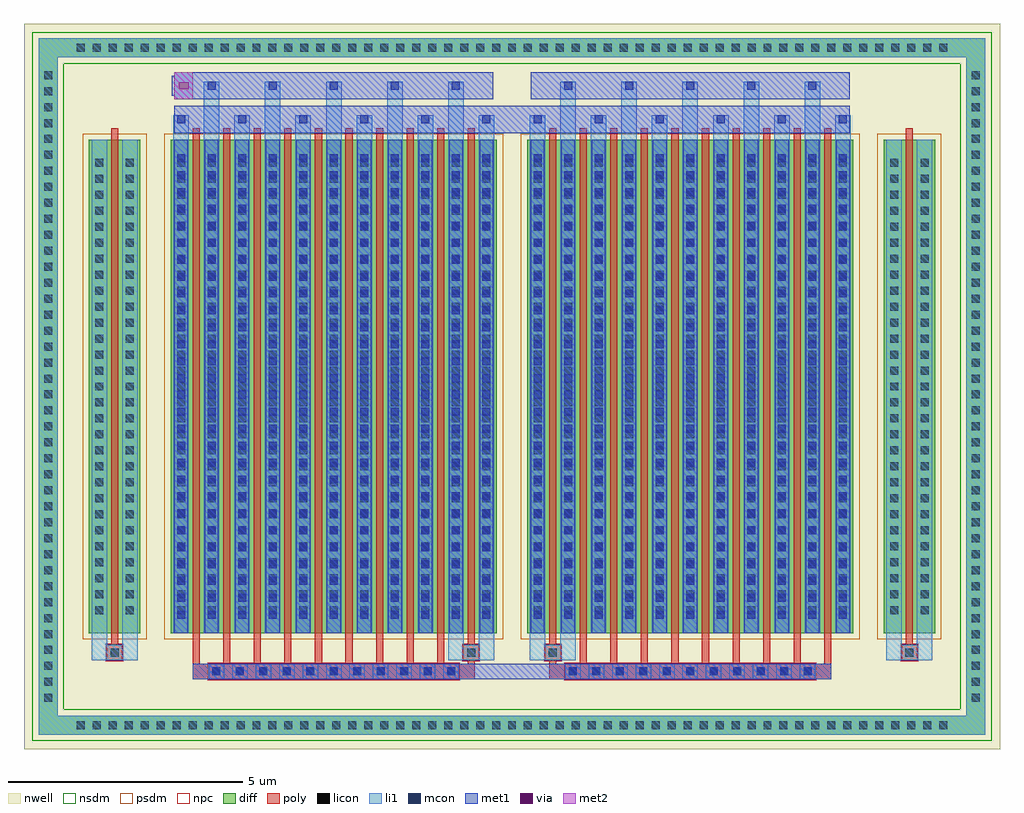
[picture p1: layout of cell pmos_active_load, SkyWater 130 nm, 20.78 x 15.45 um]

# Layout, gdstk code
import gdstk
lib = gdstk.Library(unit=1e-6, precision=5e-09)
def R(c, l, rs):  # rectangles x0, y0, x1, y1
    for r in rs: c.add(gdstk.rectangle(r[:2], r[2:], *l))
def A(c, l, x, y, w, h, nx, ny, dx, dy):  # array of equal rectangles
    R(c, l, [(x+i*dx, y+j*dy, x+i*dx+w, y+j*dy+h) for i in range(nx) for j in range(ny)])
def P(c, l, *ps):  # polygons
    for p in ps: c.add(gdstk.Polygon(p, *l))
nwell = (64, 20)
diff = (65, 20)
poly = (66, 20)
licon = (66, 44)
li1 = (67, 20)
mcon = (67, 44)
met1 = (68, 20)
via = (68, 44)
met2 = (69, 20)
nsdm = (93, 44)
psdm = (94, 20)
npc = (95, 20)

multiplier_59c90b67 = lib.new_cell('multiplier_59c90b67')
R(multiplier_59c90b67, diff, [(-5.215,-5.25,-4.115,5.25), (-3.475,-5.25,3.475,5.25), (4.115,-5.25,5.215,5.25)])
A(multiplier_59c90b67, poly, -2.665, -6.23, 0.33, 0.33, 11, 1, 0.5, 0)
A(multiplier_59c90b67, poly, -3, -5.9, 0.15, 0.4, 10, 1, 0.65, 0)
A(multiplier_59c90b67, poly, -3, -5.5, 0.15, 11, 10, 1, 0.65, 0)
R(multiplier_59c90b67, poly, [(-3,-6.23,3,-5.9), (-4.83,-5.83,-4.5,-5.5), (-4.83,-5.83,-4.5,-5.5), (4.5,-5.83,4.83,-5.5), (4.5,-5.83,4.83,-5.5), (-4.74,-5.5,-4.59,5.5), (4.59,-5.5,4.74,5.5)])
A(multiplier_59c90b67, licon, -2.585, -6.15, 0.17, 0.17, 11, 1, 0.5, 0)
A(multiplier_59c90b67, licon, -5.075, -4.845, 0.17, 0.17, 1, 29, 0, 0.34)
A(multiplier_59c90b67, licon, -4.425, -4.845, 0.17, 0.17, 1, 29, 0, 0.34)
A(multiplier_59c90b67, licon, -3.335, -4.845, 0.17, 0.17, 11, 29, 0.65, 0.34)
A(multiplier_59c90b67, licon, 4.255, -4.845, 0.17, 0.17, 1, 29, 0, 0.34)
A(multiplier_59c90b67, licon, 4.905, -4.845, 0.17, 0.17, 1, 29, 0, 0.34)
R(multiplier_59c90b67, licon, [(-4.75,-5.75,-4.58,-5.58), (4.58,-5.75,4.75,-5.58)])
A(multiplier_59c90b67, li1, -2.665, -6.23, 0.33, 0.33, 11, 1, 0.5, 0)
A(multiplier_59c90b67, li1, -3.415, -5.25, 0.33, 10.5, 11, 1, 0.65, 0)
A(multiplier_59c90b67, li1, -3.335, -4.945, 0.17, 0.17, 11, 28, 0.65, 0.36)
A(multiplier_59c90b67, li1, -3.335, -4.945, 0.17, 9.89, 11, 1, 0.65, 0)
A(multiplier_59c90b67, li1, -5.155, -4.925, 0.33, 0.33, 1, 29, 0, 0.34)
A(multiplier_59c90b67, li1, -4.505, -4.925, 0.33, 0.33, 1, 29, 0, 0.34)
A(multiplier_59c90b67, li1, -3.415, -4.925, 0.33, 0.33, 11, 29, 0.65, 0.34)
A(multiplier_59c90b67, li1, 4.175, -4.925, 0.33, 0.33, 1, 29, 0, 0.34)
A(multiplier_59c90b67, li1, 4.825, -4.925, 0.33, 0.33, 1, 29, 0, 0.34)
A(multiplier_59c90b67, li1, -3.415, 5.25, 0.33, 0.52, 6, 1, 1.3, 0)
A(multiplier_59c90b67, li1, -2.765, 5.25, 0.33, 1.24, 5, 1, 1.3, 0)
A(multiplier_59c90b67, li1, -3.335, 5.6, 0.17, 0.17, 6, 1, 1.3, 0)
A(multiplier_59c90b67, li1, -2.685, 6.32, 0.17, 0.17, 5, 1, 1.3, 0)
R(multiplier_59c90b67, li1, [(-5.155,-5.83,-4.83,-5.5), (-5.155,-5.83,-4.825,-5.25), (-4.83,-5.83,-4.5,-5.5), (-4.505,-5.83,-4.175,-5.25), (-4.5,-5.83,-4.175,-5.5), (4.175,-5.83,4.5,-5.5), (4.175,-5.83,4.505,-5.25), (4.5,-5.83,4.83,-5.5), (4.825,-5.83,5.155,-5.25), (4.83,-5.83,5.155,-5.5), (-5.155,-5.25,-4.825,5.25), (-4.505,-5.25,-4.175,5.25), (4.175,-5.25,4.505,5.25), (4.825,-5.25,5.155,5.25)])
A(multiplier_59c90b67, mcon, -2.585, -6.15, 0.17, 0.17, 11, 1, 0.5, 0)
A(multiplier_59c90b67, mcon, -3.335, -4.945, 0.17, 0.17, 11, 28, 0.65, 0.36)
A(multiplier_59c90b67, mcon, -3.335, 5.6, 0.17, 0.17, 6, 1, 1.3, 0)
A(multiplier_59c90b67, mcon, -2.685, 6.32, 0.17, 0.17, 5, 1, 1.3, 0)
A(multiplier_59c90b67, met1, -2.645, -6.21, 0.29, 0.29, 11, 1, 0.5, 0)
A(multiplier_59c90b67, met1, -3.395, -5.25, 0.29, 10.5, 11, 1, 0.65, 0)
A(multiplier_59c90b67, met1, -3.395, -5.005, 0.29, 0.29, 11, 28, 0.65, 0.36)
A(multiplier_59c90b67, met1, -3.395, 5.54, 0.29, 0.29, 6, 1, 1.3, 0)
A(multiplier_59c90b67, met1, -2.745, 6.26, 0.29, 0.29, 5, 1, 1.3, 0)
R(multiplier_59c90b67, met1, [(-3,-6.23,3,-5.9), (-3.395,5.395,3.395,5.975), (-3.395,6.115,3.395,6.695)])
R(multiplier_59c90b67, psdm, [(-5.345,-5.38,-3.985,5.38), (-3.605,-5.38,3.605,5.38), (3.985,-5.38,5.345,5.38)])
A(multiplier_59c90b67, npc, -2.685, -6.25, 0.37, 0.37, 11, 1, 0.5, 0)
R(multiplier_59c90b67, npc, [(-2.685,-6.25,-1.815,-5.88), (-2.685,-6.25,-1.815,-5.88), (-2.185,-6.25,-1.315,-5.88), (-2.185,-6.25,-1.315,-5.88), (-1.685,-6.25,-0.815,-5.88), (-1.685,-6.25,-0.815,-5.88), (-1.185,-6.25,-0.315,-5.88), (-1.185,-6.25,-0.315,-5.88), (-0.685,-6.25,0.185,-5.88), (-0.685,-6.25,0.185,-5.88), (-0.185,-6.25,0.685,-5.88), (-0.185,-6.25,0.685,-5.88), (0.315,-6.25,1.185,-5.88), (0.315,-6.25,1.185,-5.88), (0.815,-6.25,1.685,-5.88), (0.815,-6.25,1.685,-5.88), (1.315,-6.25,2.185,-5.88), (1.315,-6.25,2.185,-5.88), (1.815,-6.25,2.685,-5.88), (1.815,-6.25,2.685,-5.88), (-4.85,-5.85,-4.48,-5.48), (4.48,-5.85,4.85,-5.48)])

multiplier_59c90b67_1 = lib.new_cell('multiplier_59c90b67$1')
R(multiplier_59c90b67_1, diff, [(-5.215,-5.25,-4.115,5.25), (-3.475,-5.25,3.475,5.25), (4.115,-5.25,5.215,5.25)])
A(multiplier_59c90b67_1, poly, -2.665, -6.23, 0.33, 0.33, 11, 1, 0.5, 0)
A(multiplier_59c90b67_1, poly, -3, -5.9, 0.15, 0.4, 10, 1, 0.65, 0)
A(multiplier_59c90b67_1, poly, -3, -5.5, 0.15, 11, 10, 1, 0.65, 0)
R(multiplier_59c90b67_1, poly, [(-3,-6.23,3,-5.9), (-4.83,-5.83,-4.5,-5.5), (-4.83,-5.83,-4.5,-5.5), (4.5,-5.83,4.83,-5.5), (4.5,-5.83,4.83,-5.5), (-4.74,-5.5,-4.59,5.5), (4.59,-5.5,4.74,5.5)])
A(multiplier_59c90b67_1, licon, -2.585, -6.15, 0.17, 0.17, 11, 1, 0.5, 0)
A(multiplier_59c90b67_1, licon, -5.075, -4.845, 0.17, 0.17, 1, 29, 0, 0.34)
A(multiplier_59c90b67_1, licon, -4.425, -4.845, 0.17, 0.17, 1, 29, 0, 0.34)
A(multiplier_59c90b67_1, licon, -3.335, -4.845, 0.17, 0.17, 11, 29, 0.65, 0.34)
A(multiplier_59c90b67_1, licon, 4.255, -4.845, 0.17, 0.17, 1, 29, 0, 0.34)
A(multiplier_59c90b67_1, licon, 4.905, -4.845, 0.17, 0.17, 1, 29, 0, 0.34)
R(multiplier_59c90b67_1, licon, [(-4.75,-5.75,-4.58,-5.58), (4.58,-5.75,4.75,-5.58)])
A(multiplier_59c90b67_1, li1, -2.665, -6.23, 0.33, 0.33, 11, 1, 0.5, 0)
A(multiplier_59c90b67_1, li1, -3.415, -5.25, 0.33, 10.5, 11, 1, 0.65, 0)
A(multiplier_59c90b67_1, li1, -3.335, -4.945, 0.17, 0.17, 11, 28, 0.65, 0.36)
A(multiplier_59c90b67_1, li1, -3.335, -4.945, 0.17, 9.89, 11, 1, 0.65, 0)
A(multiplier_59c90b67_1, li1, -5.155, -4.925, 0.33, 0.33, 1, 29, 0, 0.34)
A(multiplier_59c90b67_1, li1, -4.505, -4.925, 0.33, 0.33, 1, 29, 0, 0.34)
A(multiplier_59c90b67_1, li1, -3.415, -4.925, 0.33, 0.33, 11, 29, 0.65, 0.34)
A(multiplier_59c90b67_1, li1, 4.175, -4.925, 0.33, 0.33, 1, 29, 0, 0.34)
A(multiplier_59c90b67_1, li1, 4.825, -4.925, 0.33, 0.33, 1, 29, 0, 0.34)
A(multiplier_59c90b67_1, li1, -3.415, 5.25, 0.33, 0.52, 6, 1, 1.3, 0)
A(multiplier_59c90b67_1, li1, -2.765, 5.25, 0.33, 1.24, 5, 1, 1.3, 0)
A(multiplier_59c90b67_1, li1, -3.335, 5.6, 0.17, 0.17, 6, 1, 1.3, 0)
A(multiplier_59c90b67_1, li1, -2.685, 6.32, 0.17, 0.17, 5, 1, 1.3, 0)
R(multiplier_59c90b67_1, li1, [(-5.155,-5.83,-4.83,-5.5), (-5.155,-5.83,-4.825,-5.25), (-4.83,-5.83,-4.5,-5.5), (-4.505,-5.83,-4.175,-5.25), (-4.5,-5.83,-4.175,-5.5), (4.175,-5.83,4.5,-5.5), (4.175,-5.83,4.505,-5.25), (4.5,-5.83,4.83,-5.5), (4.825,-5.83,5.155,-5.25), (4.83,-5.83,5.155,-5.5), (-5.155,-5.25,-4.825,5.25), (-4.505,-5.25,-4.175,5.25), (4.175,-5.25,4.505,5.25), (4.825,-5.25,5.155,5.25)])
A(multiplier_59c90b67_1, mcon, -2.585, -6.15, 0.17, 0.17, 11, 1, 0.5, 0)
A(multiplier_59c90b67_1, mcon, -3.335, -4.945, 0.17, 0.17, 11, 28, 0.65, 0.36)
A(multiplier_59c90b67_1, mcon, -3.335, 5.6, 0.17, 0.17, 6, 1, 1.3, 0)
A(multiplier_59c90b67_1, mcon, -2.685, 6.32, 0.17, 0.17, 5, 1, 1.3, 0)
A(multiplier_59c90b67_1, met1, -2.645, -6.21, 0.29, 0.29, 11, 1, 0.5, 0)
A(multiplier_59c90b67_1, met1, -3.395, -5.25, 0.29, 10.5, 11, 1, 0.65, 0)
A(multiplier_59c90b67_1, met1, -3.395, -5.005, 0.29, 0.29, 11, 28, 0.65, 0.36)
A(multiplier_59c90b67_1, met1, -3.395, 5.54, 0.29, 0.29, 6, 1, 1.3, 0)
A(multiplier_59c90b67_1, met1, -2.745, 6.26, 0.29, 0.29, 5, 1, 1.3, 0)
R(multiplier_59c90b67_1, met1, [(-3,-6.23,3,-5.9), (-3.395,5.395,3.395,5.975), (-3.395,6.115,3.395,6.695)])
R(multiplier_59c90b67_1, psdm, [(-5.345,-5.38,-3.985,5.38), (-3.605,-5.38,3.605,5.38), (3.985,-5.38,5.345,5.38)])
A(multiplier_59c90b67_1, npc, -2.685, -6.25, 0.37, 0.37, 11, 1, 0.5, 0)
R(multiplier_59c90b67_1, npc, [(-2.685,-6.25,-1.815,-5.88), (-2.685,-6.25,-1.815,-5.88), (-2.185,-6.25,-1.315,-5.88), (-2.185,-6.25,-1.315,-5.88), (-1.685,-6.25,-0.815,-5.88), (-1.685,-6.25,-0.815,-5.88), (-1.185,-6.25,-0.315,-5.88), (-1.185,-6.25,-0.315,-5.88), (-0.685,-6.25,0.185,-5.88), (-0.685,-6.25,0.185,-5.88), (-0.185,-6.25,0.685,-5.88), (-0.185,-6.25,0.685,-5.88), (0.315,-6.25,1.185,-5.88), (0.315,-6.25,1.185,-5.88), (0.815,-6.25,1.685,-5.88), (0.815,-6.25,1.685,-5.88), (1.315,-6.25,2.185,-5.88), (1.315,-6.25,2.185,-5.88), (1.815,-6.25,2.685,-5.88), (1.815,-6.25,2.685,-5.88), (-4.85,-5.85,-4.48,-5.48), (4.48,-5.85,4.85,-5.48)])

straight_route_700a6ba2 = lib.new_cell('straight_route_700a6ba2')
R(straight_route_700a6ba2, met1, [(-0.4,5.395,0.4,5.975)])

straight_route_c3424c49 = lib.new_cell('straight_route_c3424c49')
R(straight_route_c3424c49, met1, [(-0.795,-6.23,0.795,-5.9)])

straight_route_124c06b7 = lib.new_cell('straight_route_124c06b7')
R(straight_route_124c06b7, met1, [(-7.24,6.19,-6.81,6.62), (-7.175,6.19,-6.745,6.62)])
R(straight_route_124c06b7, via, [(-7.1,6.33,-6.95,6.48), (-7.035,6.33,-6.885,6.48)])
R(straight_route_124c06b7, met2, [(-7.19,6.115,-6.795,6.695), (-7.19,6.24,-6.86,6.57), (-7.125,6.24,-6.795,6.57)])

unnamed_fdff506e_1 = lib.new_cell('Unnamed_fdff506e$1')
A(unnamed_fdff506e_1, diff, -9.385, -7.415, 0.41, 0.41, 55, 2, 0.34, 14.42)
A(unnamed_fdff506e_1, diff, -10.08, -6.835, 0.41, 0.41, 1, 40, 0, 0.34)
A(unnamed_fdff506e_1, diff, 9.67, -6.835, 0.41, 0.41, 1, 40, 0, 0.34)
R(unnamed_fdff506e_1, diff, [(-9.385,-7.415,9.385,-7.005), (-10.08,-6.835,-9.67,6.835), (9.67,-6.835,10.08,6.835), (-9.385,7.005,9.385,7.415)])
P(unnamed_fdff506e_1, diff, [(10.08,7.415),(-10.08,7.415),(-10.08,-7.005),(-9.67,-7.005),(-9.67,7.005),(9.67,7.005),(9.67,-7.005),(-9.67,-7.005),(-10.08,-7.005),(-10.08,-7.415),(10.08,-7.415)])
A(unnamed_fdff506e_1, licon, -9.265, -7.295, 0.17, 0.17, 55, 2, 0.34, 14.42)
A(unnamed_fdff506e_1, licon, -9.96, -6.715, 0.17, 0.17, 1, 40, 0, 0.34)
A(unnamed_fdff506e_1, licon, 9.79, -6.715, 0.17, 0.17, 1, 40, 0, 0.34)
A(unnamed_fdff506e_1, li1, -9.345, -7.375, 0.33, 0.33, 55, 2, 0.34, 14.42)
A(unnamed_fdff506e_1, li1, -10.04, -6.795, 0.33, 0.33, 1, 40, 0, 0.34)
A(unnamed_fdff506e_1, li1, 9.71, -6.795, 0.33, 0.33, 1, 40, 0, 0.34)
R(unnamed_fdff506e_1, li1, [(-10.08,-7.415,-9.67,-7.005), (-10.08,-7.415,-9.67,-7.005), (-9.67,-7.415,9.67,-7.005), (9.67,-7.415,10.08,-7.005), (9.67,-7.415,10.08,-7.005), (-10.08,-7.005,-9.67,7.005), (9.67,-7.005,10.08,7.005), (-10.08,7.005,-9.67,7.415), (-10.08,7.005,-9.67,7.415), (-9.67,7.005,9.67,7.415), (9.67,7.005,10.08,7.415), (9.67,7.005,10.08,7.415)])
P(unnamed_fdff506e_1, nsdm, [(10.21,7.545),(-10.21,7.545),(-10.21,-6.875),(-9.54,-6.875),(-9.54,6.875),(9.54,6.875),(9.54,-6.875),(-9.54,-6.875),(-10.21,-6.875),(-10.21,-7.545),(10.21,-7.545)])

compass_27c0f27c = lib.new_cell('compass_27c0f27c')
R(compass_27c0f27c, nwell, [(-10.39,-7.725,10.39,7.725)])

rectangle_193b15a7 = lib.new_cell('rectangle_193b15a7')
rectangle_193b15a7.add(gdstk.Reference(compass_27c0f27c, (0,0)))

pmos_active_load = lib.new_cell('pmos_active_load')
pmos_active_load.add(gdstk.Reference(multiplier_59c90b67, (-3.795,0)))
pmos_active_load.add(gdstk.Reference(multiplier_59c90b67_1, (3.795,0)))
pmos_active_load.add(gdstk.Reference(straight_route_700a6ba2, (0,0)))
pmos_active_load.add(gdstk.Reference(straight_route_c3424c49, (0,0)))
pmos_active_load.add(gdstk.Reference(straight_route_124c06b7, (0,0)))
pmos_active_load.add(gdstk.Reference(unnamed_fdff506e_1, (0,0)))
pmos_active_load.add(gdstk.Reference(rectangle_193b15a7, (0,0)))

lib.write_gds('pmos_active_load.gds')
